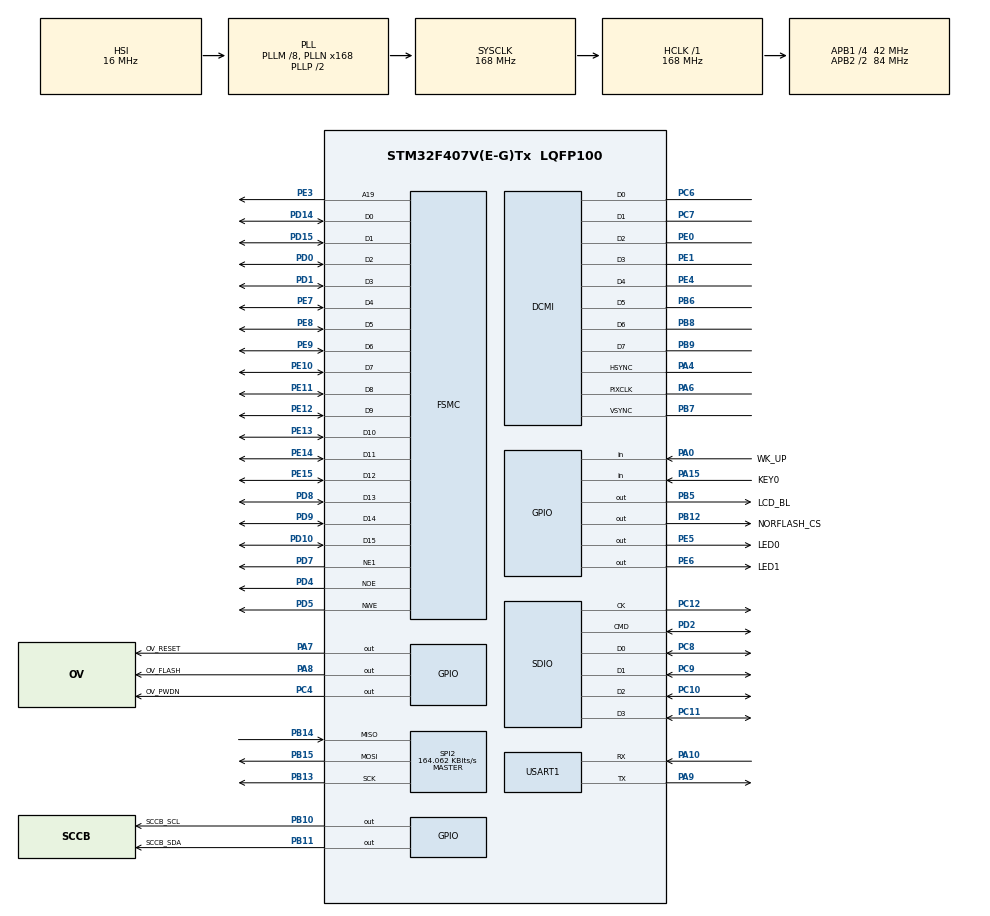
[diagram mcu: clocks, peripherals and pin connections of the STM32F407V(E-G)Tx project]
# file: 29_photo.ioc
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DCMI.PCKPolarity=DCMI_PCKPOLARITY_RISING
Dma.DCMI.0.Direction=DMA_PERIPH_TO_MEMORY
Dma.DCMI.0.FIFOMode=DMA_FIFOMODE_ENABLE
Dma.DCMI.0.FIFOThreshold=DMA_FIFO_THRESHOLD_FULL
Dma.DCMI.0.Instance=DMA2_Stream1
Dma.DCMI.0.MemBurst=DMA_MBURST_SINGLE
Dma.DCMI.0.MemDataAlignment=DMA_MDATAALIGN_WORD
Dma.DCMI.0.MemInc=DMA_MINC_ENABLE
Dma.DCMI.0.Mode=DMA_CIRCULAR
Dma.DCMI.0.PeriphBurst=DMA_PBURST_SINGLE
Dma.DCMI.0.PeriphDataAlignment=DMA_PDATAALIGN_WORD
Dma.DCMI.0.PeriphInc=DMA_PINC_DISABLE
Dma.DCMI.0.Priority=DMA_PRIORITY_VERY_HIGH
Dma.Request0=DCMI
FATFS._CODE_PAGE=437
FATFS._USE_LABEL=1
FATFS._USE_LFN=3
FSMC.AddressSetupTime1=15
FSMC.BusTurnAroundDuration1=0
FSMC.DataSetupTime1=60
FSMC.ExtendedAddressSetupTime1=9
FSMC.ExtendedDataSetupTime1=9
FSMC.ExtendedMode1=FSMC_EXTENDED_MODE_ENABLE
Mcu.Family=STM32F4
Mcu.Name=STM32F407V(E-G)Tx
Mcu.Package=LQFP100
NVIC.DCMI_IRQn=true\:0\:0\:false\:false\:true\:true\:true\:true
NVIC.DMA2_Stream1_IRQn=true\:0\:0\:false\:false\:true\:false\:true\:true
NVIC.PriorityGroup=NVIC_PRIORITYGROUP_2
NVIC.TIM4_IRQn=true\:2\:1\:true\:false\:true\:true\:true\:true
NVIC.USART1_IRQn=true\:2\:2\:true\:false\:true\:true\:true\:true
PA0-WKUP.GPIO_Label=WK_UP
PA0-WKUP.GPIO_PuPd=GPIO_PULLDOWN
PA0-WKUP.Signal=GPIO_Input
PA10.Mode=Asynchronous
PA10.Signal=USART1_RX
PA13.Mode=Serial_Wire
PA13.Signal=SYS_JTMS-SWDIO
PA14.Mode=Serial_Wire
PA14.Signal=SYS_JTCK-SWCLK
PA15.GPIO_Label=KEY0
PA15.GPIO_PuPd=GPIO_PULLDOWN
PA15.Signal=GPIO_Input
PA4.Mode=Slave_8_bits_External_Synchro
PA4.Signal=DCMI_HSYNC
PA6.Mode=Slave_8_bits_External_Synchro
PA6.Signal=DCMI_PIXCLK
PA7.GPIO_Label=OV_RESET
PA7.GPIO_PuPd=GPIO_PULLUP
PA7.GPIO_Speed=GPIO_SPEED_FREQ_VERY_HIGH
PA7.PinState=GPIO_PIN_SET
PA7.Signal=GPIO_Output
PA8.GPIO_Label=OV_FLASH
PA8.GPIO_PuPd=GPIO_PULLUP
PA8.GPIO_Speed=GPIO_SPEED_FREQ_VERY_HIGH
PA8.PinState=GPIO_PIN_SET
PA8.Signal=GPIO_Output
PA9.Mode=Asynchronous
PA9.Signal=USART1_TX
PB10.GPIO_Label=SCCB_SCL
PB10.GPIO_ModeDefaultOutputPP=GPIO_MODE_OUTPUT_OD
PB10.GPIO_PuPd=GPIO_NOPULL
PB10.GPIO_Speed=GPIO_SPEED_FREQ_VERY_HIGH
PB10.PinState=GPIO_PIN_SET
PB10.Signal=GPIO_Output
PB11.GPIO_Label=SCCB_SDA
PB11.GPIO_ModeDefaultOutputPP=GPIO_MODE_OUTPUT_OD
PB11.GPIO_PuPd=GPIO_NOPULL
PB11.GPIO_Speed=GPIO_SPEED_FREQ_VERY_HIGH
PB11.PinState=GPIO_PIN_SET
PB11.Signal=GPIO_Output
PB12.GPIO_Label=NORFLASH_CS
PB12.GPIO_PuPd=GPIO_PULLUP
PB12.GPIO_Speed=GPIO_SPEED_FREQ_HIGH
PB12.PinState=GPIO_PIN_SET
PB12.Signal=GPIO_Output
PB13.Mode=Full_Duplex_Master
PB13.Signal=SPI2_SCK
PB14.Mode=Full_Duplex_Master
PB14.Signal=SPI2_MISO
PB15.Mode=Full_Duplex_Master
PB15.Signal=SPI2_MOSI
PB5.GPIO_Label=LCD_BL
PB5.GPIO_PuPd=GPIO_PULLUP
PB5.GPIO_Speed=GPIO_SPEED_FREQ_HIGH
PB5.PinState=GPIO_PIN_SET
PB5.Signal=GPIO_Output
PB6.Mode=Slave_8_bits_External_Synchro
PB6.Signal=DCMI_D5
PB7.Mode=Slave_8_bits_External_Synchro
PB7.Signal=DCMI_VSYNC
PB8.Mode=Slave_8_bits_External_Synchro
PB8.Signal=DCMI_D6
PB9.Mode=Slave_8_bits_External_Synchro
PB9.Signal=DCMI_D7
PC10.Mode=SD_4_bits_Wide_bus
PC10.Signal=SDIO_D2
PC11.Mode=SD_4_bits_Wide_bus
PC11.Signal=SDIO_D3
PC12.Mode=SD_4_bits_Wide_bus
PC12.Signal=SDIO_CK
PC14-OSC32_IN.Mode=LSE-External-Oscillator
PC14-OSC32_IN.Signal=RCC_OSC32_IN
PC15-OSC32_OUT.Mode=LSE-External-Oscillator
PC15-OSC32_OUT.Signal=RCC_OSC32_OUT
PC4.GPIO_Label=OV_PWDN
PC4.GPIO_PuPd=GPIO_PULLUP
PC4.GPIO_Speed=GPIO_SPEED_FREQ_VERY_HIGH
PC4.PinState=GPIO_PIN_SET
PC4.Signal=GPIO_Output
PC6.Mode=Slave_8_bits_External_Synchro
PC6.Signal=DCMI_D0
PC7.Mode=Slave_8_bits_External_Synchro
PC7.Signal=DCMI_D1
PC8.Mode=SD_4_bits_Wide_bus
PC8.Signal=SDIO_D0
PC9.Mode=SD_4_bits_Wide_bus
PC9.Signal=SDIO_D1
PD0.Mode=16b-d1
PD0.Signal=FSMC_D2
PD1.Mode=16b-d1
PD1.Signal=FSMC_D3
PD10.Mode=16b-d1
PD10.Signal=FSMC_D15
PD14.Mode=16b-d1
PD14.Signal=FSMC_D0
PD15.Mode=16b-d1
PD15.Signal=FSMC_D1
PD2.Mode=SD_4_bits_Wide_bus
PD2.Signal=SDIO_CMD
PD4.Mode=Lcd1
PD4.Signal=FSMC_NOE
PD5.Mode=Lcd1
PD5.Signal=FSMC_NWE
PD7.Mode=NorPsramChipSelect1_1
PD7.Signal=FSMC_NE1
PD8.Mode=16b-d1
PD8.Signal=FSMC_D13
PD9.Mode=16b-d1
PD9.Signal=FSMC_D14
PE0.Mode=Slave_8_bits_External_Synchro
PE0.Signal=DCMI_D2
PE1.Mode=Slave_8_bits_External_Synchro
PE1.Signal=DCMI_D3
PE10.Mode=16b-d1
PE10.Signal=FSMC_D7
PE11.Mode=16b-d1
PE11.Signal=FSMC_D8
PE12.Mode=16b-d1
PE12.Signal=FSMC_D9
PE13.Mode=16b-d1
PE13.Signal=FSMC_D10
PE14.Mode=16b-d1
PE14.Signal=FSMC_D11
PE15.Mode=16b-d1
PE15.Signal=FSMC_D12
PE3.Mode=A19_1
PE3.Signal=FSMC_A19
PE4.Mode=Slave_8_bits_External_Synchro
PE4.Signal=DCMI_D4
PE5.GPIO_Label=LED0
PE5.GPIO_PuPd=GPIO_PULLUP
PE5.GPIO_Speed=GPIO_SPEED_FREQ_HIGH
PE5.PinState=GPIO_PIN_SET
PE5.Signal=GPIO_Output
PE6.GPIO_Label=LED1
PE6.GPIO_PuPd=GPIO_PULLUP
PE6.GPIO_Speed=GPIO_SPEED_FREQ_HIGH
PE6.PinState=GPIO_PIN_SET
PE6.Signal=GPIO_Output
PE7.Mode=16b-d1
PE7.Signal=FSMC_D4
PE8.Mode=16b-d1
PE8.Signal=FSMC_D5
PE9.Mode=16b-d1
PE9.Signal=FSMC_D6
PH0-OSC_IN.Mode=HSE-External-Oscillator
PH0-OSC_IN.Signal=RCC_OSC_IN
PH1-OSC_OUT.Mode=HSE-External-Oscillator
PH1-OSC_OUT.Signal=RCC_OSC_OUT
ProjectManager.HeapSize=0x1000
ProjectManager.StackSize=0x400
ProjectManager.TargetToolchain=STM32CubeIDE
RCC.48MHZClocksFreq_Value=48000000
RCC.AHBFreq_Value=168000000
RCC.APB1CLKDivider=RCC_HCLK_DIV4
RCC.APB1Freq_Value=42000000
RCC.APB1TimFreq_Value=84000000
RCC.APB2CLKDivider=RCC_HCLK_DIV2
RCC.APB2Freq_Value=84000000
RCC.APB2TimFreq_Value=168000000
RCC.CortexFreq_Value=168000000
RCC.HCLKFreq_Value=168000000
RCC.HSE_VALUE=25000000
RCC.HSI_VALUE=16000000
RCC.PLLM=8
RCC.PLLN=168
RCC.PLLQ=7
RCC.SYSCLKFreq_VALUE=168000000
RCC.SYSCLKSource=RCC_SYSCLKSOURCE_PLLCLK
RCC.VCOOutputFreq_Value=336000000
SDIO.ClockDiv=0x06
SDIO.HardwareFlowControl=SDIO_HARDWARE_FLOW_CONTROL_ENABLE
SPI2.BaudRatePrescaler=SPI_BAUDRATEPRESCALER_256
SPI2.CLKPhase=SPI_PHASE_2EDGE
SPI2.CLKPolarity=SPI_POLARITY_HIGH
SPI2.CalculateBaudRate=164.062 KBits/s
SPI2.Direction=SPI_DIRECTION_2LINES
SPI2.Mode=SPI_MODE_MASTER
SPI2.VirtualType=VM_MASTER
TIM4.AutoReloadPreload=TIM_AUTORELOAD_PRELOAD_ENABLE
TIM4.Period=1000
TIM4.Prescaler=8400-1
USART1.VirtualMode=VM_ASYNC
VP_FATFS_VS_Generic.Mode=User_defined
VP_TIM4_VS_ClockSourceINT.Mode=Internal
board=custom

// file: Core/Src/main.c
/* USER CODE BEGIN Header */

/* USER CODE END Header */
#include "main.h"
#include "dcmi.h"
#include "dma.h"
#include "fatfs.h"
#include "sdio.h"
#include "spi.h"
#include "tim.h"
#include "usart.h"
#include "gpio.h"
#include "fsmc.h"

/* USER CODE BEGIN Includes */
#include "../../ATK_Middlewares/MALLOC/malloc.h"
#include "../../BSP/LED/led.h"
#include "../../BSP/KEY/key.h"
#include "../../BSP/LCD/lcd.h"
#include "../../BSP/OV2640/ov2640.h"
#include "../../FatFs/exfuns/exfuns.h"
#include "../../FatFs/exfuns/fattester.h"
#include "../../ATK_Middlewares/PICTURE/piclib.h"
#include "ff.h"
/* USER CODE END Includes */

/* USER CODE BEGIN PTD */
extern uint8_t g_sd_error;
/* USER CODE END PTD */

/* USER CODE BEGIN PD */

/**
 * @brief   Displays information about the experiment
 * @param   None
 * @retval  None
 */
void stm32f407vg_show_mesg(void)
{
	/* The serial port outputs the experimental information */
	printf("\n");
	printf("********************************\r\n");
	printf("STM32F407\r\n");
	printf("PHOTO Test\r\n");
	printf("ATOM@ALIENTEK\r\n");
	printf("********************************\r\n");
	printf("\r\n");
}

/* USER CODE END PD */

void SystemClock_Config(void);

/* USER CODE BEGIN 0 */

/* OV2640 output data format
 * 0: RGB565 format
 * 1: JPEG format
 */
static uint8_t g_ov_mode;

/* JPEG data acquisition completion mark
 * 0: The collection is not complete
 * 1: Collection completed, but not processed
 * 2: Processing is complete and the next frame can be received
 */
volatile uint8_t g_jpeg_data_ok = 0;

/**
 * @bref 	Handles JPEG data
 * @note 	Is called in DCMI capture interrupt
 * @param 	None
 * @retval 	None
 */
void jpeg_data_process(void)
{
    if (g_ov_mode == 0)             /* RGB565 mode */
    {
        lcd_set_cursor(0, 0);       /* Set the cursor position */
        lcd_write_ram_prepare();    /* Ready to write GRAM */
    }
}

/**
 * @bref 	Switches to OV2640 mode
 * @note 	Switch PC8/PC9/PC11 to DCMI multiplexing function (AF13)
 * @param 	None
 * @retval 	None
 */
static void sw_ov2640_mode(void)
{
    GPIO_InitTypeDef gpio_init_struct = {0};

    OV2640_PWDN(0);
    gpio_init_struct.Pin = GPIO_PIN_8 | GPIO_PIN_9 | GPIO_PIN_11;
    gpio_init_struct.Mode = GPIO_MODE_AF_PP;
    gpio_init_struct.Pull = GPIO_PULLUP;
    gpio_init_struct.Speed = GPIO_SPEED_FREQ_HIGH;
    gpio_init_struct.Alternate = GPIO_AF13_DCMI;
    HAL_GPIO_Init(GPIOC, &gpio_init_struct);
}

/**
 * @bref 	Switches to sdcard mode
 * @note 	Switch PC8/PC9/PC11 to DCMI multiplexing function (AF13)
 * @param 	None
 * @retval 	None
 */
static void sw_sdcard_mode(void)
{
    GPIO_InitTypeDef gpio_init_struct = {0};

    OV2640_PWDN(1);
    gpio_init_struct.Pin = GPIO_PIN_8 | GPIO_PIN_9 | GPIO_PIN_11;
    gpio_init_struct.Mode = GPIO_MODE_AF_PP;
    gpio_init_struct.Pull = GPIO_PULLUP;
    gpio_init_struct.Speed = GPIO_SPEED_FREQ_HIGH;
    gpio_init_struct.Alternate = GPIO_AF12_SDIO;
    HAL_GPIO_Init(GPIOC, &gpio_init_struct);
}

/**
 * @brief 	File name increment (avoid overwriting)
 * @note 	Indicates the file name of the bmp combination, such as 0:PHOTO/PIC13141.bmp
			jpg combines to form a file name such as "0:PHOTO/PIC13141.jpg"
 * @param 	pname: indicates a valid file name
 * @param 	mode: indicates the file format
 * @arg     0: BMP
 * @arg     1: JPG
 * @retval 	None
 */
static void camera_new_pathname(uint8_t *pname, uint8_t mode)
{
    uint8_t res;
    uint16_t index = 0;
    FIL *ftemp;

    ftemp = (FIL *)mymalloc(SRAMIN, sizeof(FIL));
    if (ftemp == NULL)
    {
        return;
    }

    while (index < 0xFFFF)
    {
        if (mode == 0)                                                  /* Create a.bmp file name */
        {
            sprintf((char *)pname, "0:PHOTO/PIC%05d.bmp", index);
        }
        else                                                            /* Create a.jpg file name */
        {
            sprintf((char *)pname, "0:PHOTO/PIC%05d.jpg", index);
        }

        res = (uint8_t)f_open(ftemp, (const TCHAR *)pname, FA_READ);    /* Try to open this file */
        if (res == (uint8_t)FR_NO_FILE)                                 /* The file name does not exist. It is the desired file name */
        {
            break;
        }

        index++;
    }

    myfree(SRAMIN, ftemp);
}

/* USER CODE END 0 */

int main(void)
{
  /* USER CODE BEGIN 1 */
    uint8_t t = 0;
    uint8_t key;
    uint8_t res;
    uint8_t sd_ok = 1;
    uint8_t *pname;
  /* USER CODE END 1 */

  /* MCU Configuration--------------------------------------------------------*/

  /* Reset of all peripherals, Initializes the Flash interface and the Systick. */
  HAL_Init();

  /* Configure the system clock */
  SystemClock_Config();

  /* Initialize all configured peripherals */
  MX_GPIO_Init();
  MX_DMA_Init();
  MX_USART1_UART_Init();
  MX_FSMC_Init();
  MX_TIM4_Init();
  MX_SPI2_Init();
  MX_FATFS_Init();
  MX_DCMI_Init();
  /* USER CODE BEGIN 2 */
  lcd_init();                         /* Initialize LCD */
  piclib_init();
  my_mem_init(SRAMIN);                /* Initialize the internal SRAM memory pool */
  my_mem_init(SRAMCCM);               /* Initialize the CCM memory pool */
  exfuns_init();                      /* Request memory for exfuns */
  stm32f407vg_show_mesg();

  f_mount(fs[0], "0:", 1);            /* mount SD card */
  f_mount(fs[1], "1:", 1);            /* mount NOR Flash */

  while (ov2640_init() != 0)                                                              /* Initialize OV2640 */
  {
      lcd_show_string(30, 170, 240, 16, 16, "OV2640 Error!", RED);
      HAL_Delay(200);
      lcd_fill(30, 150, 239, 206, WHITE);
      HAL_Delay(200);
  }

  sw_sdcard_mode();
  while (g_sd_error == 1)
  {
  	  g_sd_error = 0;
  	  MX_SDIO_SD_Init();
      lcd_show_string(30, 130, 200, 16, 16, "SD Card Failed!", RED);
      HAL_Delay(500);
      lcd_show_string(30, 130, 200, 16, 16, "Please Check! ", RED);
      HAL_Delay(500);
      LED1_TOGGLE();
  }

  lcd_show_string(30, 30, 200, 16, 16, "STM32", RED);
  lcd_show_string(30, 50, 200, 16, 16, "PHOTO TEST", RED);
  lcd_show_string(30, 70, 200, 16, 16, "ATOM@ALIENTEK", RED);
  lcd_show_string(30, 90, 200, 16, 16, "WKUP: Take a picture(BMP)", RED);

  res = (uint8_t)f_mkdir("0:/PHOTO");                                                     /* Create a PHOTO folder */
  if ((res != (uint8_t)FR_EXIST) && (res != 0))                                           /* PHOTO folder does not exist and creation failed */
  {
      lcd_show_string(30, 150, 240, 16, 16, "SD Card Error!", RED);
      lcd_show_string(30, 150, 240, 16, 16, "The photo function will not be available!", RED);
      sd_ok = 0;
  }

  pname = (uint8_t *)mymalloc(SRAMIN, 30);                                                /* Allocates memory for the filename with path */
  while (pname == NULL)
  {
      lcd_show_string(30, 150, 240, 16, 16, "Memory allocation failure!", RED);
      HAL_Delay(200);
      lcd_fill(30, 150, 240, 146, WHITE);
      HAL_Delay(200);
  }

  sw_ov2640_mode();
  ov2640_rgb565_mode();                                                                   /* Set OV2640 to RGB565 mode */
  dcmi_dma_init((uint32_t)&(LCD->LCD_RAM), 0, 1);										  /* Configure DCMI DMA */
  ov2640_outsize_set(lcddev.width, lcddev.height);                                        /* Full screen zoom */
  dcmi_start();                                                                           /* Start DCMI transfer */
  ov2640_flash_intctrl();                                                                 /* Internal control flash */

  /* USER CODE END 2 */

  /* Infinite loop */
  /* USER CODE BEGIN WHILE */
  while (1)
  {
	  t++;
	  key = key_scan(0);

	  if (key != 0)                                                                       /* There are keys to press */
	  {
	      dcmi_stop();                                                                    /* First disable DCMI transmission */
	      if (sd_ok == 1)                                                                 /* SD card is normal */
	      {
	          sw_sdcard_mode();                                                           /* Switch to SD card mode */
	                switch (key)
	                {
	                    case WKUP_PRES:
	                    {
	                        camera_new_pathname(pname, 0);                                      /* The file name is in BMP format */
	                        res = bmp_encode(pname, 0, 0, lcddev.width, lcddev.height, 0);      /* Encode and save the BMP file */
	                        break;
	                    }
	                    default:
	                    {
	                        break;
	                    }
	                }
	                sw_ov2640_mode();                                                           /* Switch to OV2640 mode */
	                if (res != 0)
	                {
	                    lcd_show_string(30, 130, 240, 16, 16, "Write file error!", RED);

	                }
	                else
	                {
	                    lcd_show_string(30, 130, 240, 16, 16, "Photo success!", RED);
	                    lcd_show_string(30, 130, 240, 16, 16, "Save as!", RED);
	                    lcd_show_string(30, 130, 240, 16, 16, (char*)pname, RED);
	                }

	                HAL_Delay(1000);
	            }
	            else                                                                            /* SD card is not available */
	            {
	                lcd_show_string(30, 130, 240, 16, 16, "SD Card Error!", RED);
	                lcd_show_string(30, 130, 240, 16, 16, "The photo function is unavailable!", RED);

	            }
	            HAL_Delay(2000);
	            dcmi_start();                                                                   /* Resume DCMI transmission */
	        }

	        if (t == 20)
	        {
	            LED0_TOGGLE();
	            t = 0;
	        }

	        HAL_Delay(10);
    /* USER CODE END WHILE */

  }
}

void SystemClock_Config(void)
{
  RCC_OscInitTypeDef RCC_OscInitStruct = {0};
  RCC_ClkInitTypeDef RCC_ClkInitStruct = {0};

  /** Configure the main internal regulator output voltage
  */
  __HAL_RCC_PWR_CLK_ENABLE();
  __HAL_PWR_VOLTAGESCALING_CONFIG(PWR_REGULATOR_VOLTAGE_SCALE1);

  /** Initializes the RCC Oscillators according to the specified parameters
  * in the RCC_OscInitTypeDef structure.
  */
  RCC_OscInitStruct.OscillatorType = RCC_OSCILLATORTYPE_HSI;
  RCC_OscInitStruct.HSIState = RCC_HSI_ON;
  RCC_OscInitStruct.HSICalibrationValue = RCC_HSICALIBRATION_DEFAULT;
  RCC_OscInitStruct.PLL.PLLState = RCC_PLL_ON;
  RCC_OscInitStruct.PLL.PLLSource = RCC_PLLSOURCE_HSI;
  RCC_OscInitStruct.PLL.PLLM = 8;
  RCC_OscInitStruct.PLL.PLLN = 168;
  RCC_OscInitStruct.PLL.PLLP = RCC_PLLP_DIV2;
  RCC_OscInitStruct.PLL.PLLQ = 7;
  if (HAL_RCC_OscConfig(&RCC_OscInitStruct) != HAL_OK)
  {
    Error_Handler();
  }

  /** Initializes the CPU, AHB and APB buses clocks
  */
  RCC_ClkInitStruct.ClockType = RCC_CLOCKTYPE_HCLK|RCC_CLOCKTYPE_SYSCLK
                              |RCC_CLOCKTYPE_PCLK1|RCC_CLOCKTYPE_PCLK2;
  RCC_ClkInitStruct.SYSCLKSource = RCC_SYSCLKSOURCE_PLLCLK;
  RCC_ClkInitStruct.AHBCLKDivider = RCC_SYSCLK_DIV1;
  RCC_ClkInitStruct.APB1CLKDivider = RCC_HCLK_DIV4;
  RCC_ClkInitStruct.APB2CLKDivider = RCC_HCLK_DIV2;

  if (HAL_RCC_ClockConfig(&RCC_ClkInitStruct, FLASH_LATENCY_5) != HAL_OK)
  {
    Error_Handler();
  }
}

void Error_Handler(void)
{
  __disable_irq();
  while (1)
  {
  }
}
